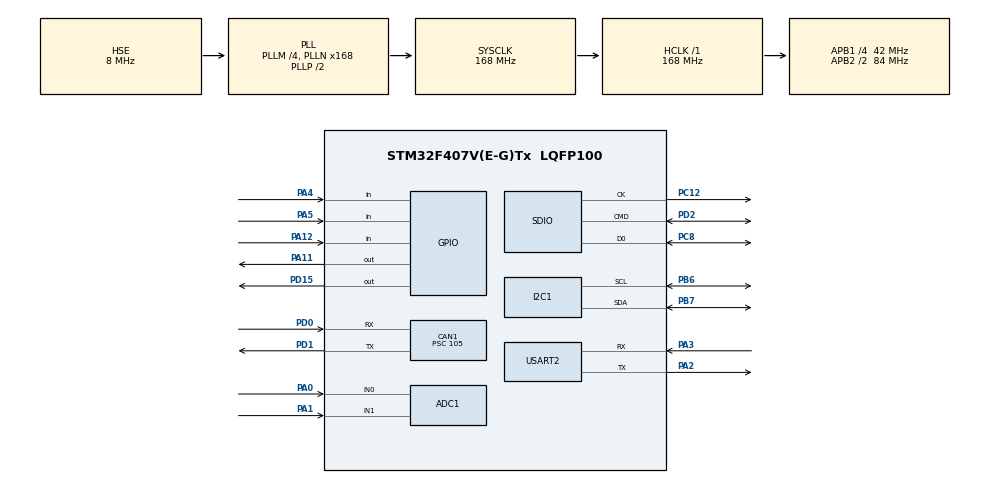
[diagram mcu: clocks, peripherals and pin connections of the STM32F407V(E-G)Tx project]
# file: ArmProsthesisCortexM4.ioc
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Mcu.Family=STM32F4
Dma.SDIO_TX.1.MemInc=DMA_MINC_ENABLE
PH0-OSC_IN.Signal=RCC_OSC_IN
RCC.CortexFreq_Value=168000000
FATFS._USE_LFN=1
NVIC.I2C1_EV_IRQn=true\:0\:0\:false\:false\:true\:true\:true
FATFS0.BSP.api=Unknown
VP_FATFS_VS_SDIO.Mode=SDIO
PC12.Signal=SDIO_CK
PD2.GPIO_Mode=GPIO_MODE_AF_PP
Dma.SDIO_TX.1.PeriphBurst=DMA_PBURST_INC4
FATFS._FS_TINY=0
RCC.SYSCLKSource=RCC_SYSCLKSOURCE_PLLCLK
ProjectManager.StackSize=0x8000
Dma.SDIO_RX.0.Direction=DMA_PERIPH_TO_MEMORY
Dma.SDIO_TX.1.PeriphInc=DMA_PINC_DISABLE
Dma.SDIO_TX.1.Instance=DMA2_Stream6
PA12.Signal=GPIO_Input
Dma.SDIO_TX.1.PeriphDataAlignment=DMA_PDATAALIGN_WORD
NVIC.CAN1_TX_IRQn=true\:0\:0\:false\:false\:true\:true\:true
RCC.HCLKFreq_Value=168000000
RCC.APB2TimFreq_Value=168000000
PB6.Signal=I2C1_SCL
PB6.Mode=I2C
PD0.Signal=CAN1_RX
Dma.SDIO_TX.1.FIFOMode=DMA_FIFOMODE_ENABLE
FATFS._LFN_UNICODE=0
RCC.AHBFreq_Value=168000000
PH0-OSC_IN.Mode=HSE-External-Oscillator
FATFS0.BSP.ip=GPIO
ADC1.Channel-0\#ChannelRegularConversion=ADC_CHANNEL_0
RCC.HSE_VALUE=8000000
PA4.GPIO_PuPd=GPIO_PULLDOWN
FATFS0.BSP.i2caddr=0
Dma.SDIO_TX.1.MemBurst=DMA_MBURST_INC4
PA14.Mode=Serial_Wire
PA5.GPIO_PuPd=GPIO_PULLDOWN
PB7.Signal=I2C1_SDA
Dma.SDIO_TX.1.Direction=DMA_MEMORY_TO_PERIPH
SH.ADCx_IN0.0=ADC1_IN0,IN0
TIM4.Period=999
Dma.SDIO_RX.0.MemDataAlignment=DMA_MDATAALIGN_WORD
ADC1.SamplingTime-0\#ChannelRegularConversion=ADC_SAMPLETIME_3CYCLES
PH1-OSC_OUT.Mode=HSE-External-Oscillator
CAN1.Prescaler=105
Mcu.Package=LQFP100
USART2.VirtualMode=VM_ASYNC
FATFS0.BSP.solution=PA12
Dma.SDIO_TX.1.FIFOThreshold=DMA_FIFO_THRESHOLD_FULL
Dma.SDIO_TX.1.Priority=DMA_PRIORITY_LOW
RCC.APB2CLKDivider=RCC_HCLK_DIV2
SH.ADCx_IN1.0=ADC1_IN1,IN1
Dma.Request1=SDIO_TX
RCC.APB1TimFreq_Value=84000000
Dma.SDIO_RX.0.MemBurst=DMA_MBURST_INC4
PC12.GPIO_PuPd=GPIO_NOPULL
Dma.SDIO_RX.0.Instance=DMA2_Stream3
Dma.Request0=SDIO_RX
PD15.Signal=GPIO_Output
Dma.SDIO_RX.0.FIFOMode=DMA_FIFOMODE_ENABLE
PA3.Signal=USART2_RX
CAN1.CalculateTimeQuantum=2500.0
PC8.GPIO_Mode=GPIO_MODE_AF_PP
RCC.PLLSourceVirtual=RCC_PLLSOURCE_HSE
FATFS0.BSP.STBoard=false
Dma.SDIO_RX.0.Mode=DMA_PFCTRL
Dma.SDIO_RX.0.Priority=DMA_PRIORITY_LOW
TIM4.AutoReloadPreload=TIM_AUTORELOAD_PRELOAD_DISABLE
ADC1.Rank-0\#ChannelRegularConversion=1
CAN1.TXFP=ENABLE
PD2.GPIO_PuPd=GPIO_NOPULL
FATFS0.BSP.mode=Input
PC8.Signal=SDIO_D0
Dma.SDIO_RX.0.PeriphInc=DMA_PINC_DISABLE
PD1.Signal=CAN1_TX
RCC.APB1CLKDivider=RCC_HCLK_DIV4
NVIC.USART2_IRQn=true\:0\:0\:false\:false\:true\:true\:true
NVIC.SDIO_IRQn=true\:0\:0\:false\:false\:true\:true\:true
PA0-WKUP.Signal=ADCx_IN0
FATFS0.BSP.instance=PA12
FATFS._VOLUMES=4
PA13.Signal=SYS_JTMS-SWDIO
PA3.Mode=Asynchronous
Dma.SDIO_TX.1.MemDataAlignment=DMA_MDATAALIGN_WORD
Dma.SDIO_RX.0.MemInc=DMA_MINC_ENABLE
CAN1.BS2=CAN_BS2_2TQ
CAN1.BS1=CAN_BS1_13TQ
Dma.SDIO_RX.0.FIFOThreshold=DMA_FIFO_THRESHOLD_FULL
ProjectManager.TargetToolchain=EWARM V8
SDIO.ClockDiv=0
NVIC.DMA2_Stream3_IRQn=true\:0\:0\:false\:false\:true\:false\:true
NVIC.DMA2_Stream6_IRQn=true\:0\:0\:false\:false\:true\:false\:true
TIM4.Prescaler=167
RCC.LSE_VALUE=32768
PA1.Signal=ADCx_IN1
Dma.SDIO_RX.0.PeriphDataAlignment=DMA_PDATAALIGN_WORD
PD2.Mode=SD_1_bit
FATFS.BSP.number=1
PA5.Signal=GPIO_Input
PC12.Mode=SD_1_bit
board=custom
RCC.VCOOutputFreq_Value=336000000
PD1.Mode=Master
FATFS._FS_NORTC=1
FATFS.USE_DMA_CODE_SD=1
RCC.APB2Freq_Value=84000000
FATFS._FS_EXFAT=1
CAN1.Mode=CAN_MODE_NORMAL
PH1-OSC_OUT.Signal=RCC_OSC_OUT
RCC.RCC_RTC_Clock_SourceVirtual=RCC_RTCCLKSOURCE_LSE
Dma.SDIO_TX.1.Mode=DMA_PFCTRL
PA13.Mode=Serial_Wire
Mcu.Name=STM32F407V(E-G)Tx
PD0.Mode=Master
PA2.Signal=USART2_TX
FATFS._MAX_SS=4096
PC8.Mode=SD_1_bit
PC12.GPIO_Speed_High_Default=GPIO_SPEED_FREQ_VERY_HIGH
RCC.48MHZClocksFreq_Value=48000000
PC8.GPIO_Speed_High_Default=GPIO_SPEED_FREQ_VERY_HIGH
PC8.GPIO_PuPd=GPIO_NOPULL
PA4.Signal=GPIO_Input
RCC.SYSCLKFreq_VALUE=168000000
PC12.GPIO_Mode=GPIO_MODE_AF_PP
ADC1.master=1
PB7.Mode=I2C
PA11.Signal=GPIO_Output
PA14.Signal=SYS_JTCK-SWCLK
ProjectManager.HeapSize=0x8000
RCC.HSI_VALUE=16000000
VP_TIM4_VS_ClockSourceINT.Mode=Internal
RCC.PLLQ=7
NVIC.PriorityGroup=NVIC_PRIORITYGROUP_4
ADC1.NbrOfConversionFlag=1
RCC.PLLM=4
RCC.PLLN=168
Dma.SDIO_RX.0.PeriphBurst=DMA_PBURST_INC4
PA2.Mode=Asynchronous
PD2.Signal=SDIO_CMD
PD2.GPIO_Speed_High_Default=GPIO_SPEED_FREQ_VERY_HIGH
NVIC.TIM4_IRQn=true\:0\:0\:false\:false\:true\:true\:true
RCC.APB1Freq_Value=42000000
FATFS0.BSP.name=Detect_SDIO
NVIC.CAN1_RX0_IRQn=true\:0\:0\:false\:false\:true\:true\:true

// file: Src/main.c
/* USER CODE BEGIN Header */
/**
******************************************************************************
* @file           : main.c
* @brief          : Main program body
******************************************************************************
* @attention
*
* <h2><center>&copy; Copyright (c) 2019 STMicroelectronics.
* All rights reserved.</center></h2>
*
* This software component is licensed by ST under BSD 3-Clause license,
* the "License"; You may not use this file except in compliance with the
* License. You may obtain a copy of the License at:
*                        opensource.org/licenses/BSD-3-Clause
*
******************************************************************************
*/
/* USER CODE END Header */
#include "main.h"
#include "adc.h"
#include "can.h"
#include "dma.h"
#include "fatfs.h"
#include "i2c.h"
#include "sdio.h"
#include "tim.h"
#include "usart.h"
#include "gpio.h"

/* USER CODE BEGIN Includes */
#include "data_handler.h"
#include "ssd1306.h"
#include "fonts.h"
#include "stdbool.h"
#include "list.h"
#include "string.h"
#include "gesture_model.h"
#include "binary_reader.h"
/* USER CODE END Includes */

/* USER CODE BEGIN PTD */

/* Тип режима работы протеза. Протез может работать в трех режимах,
которые могут переключаться как с помощью внешних воздействий, так и автоматически. */
enum TypeWork {
  /* Миоэлектрический режим работы протеза. В данном режиме выбор исполняемого
  жеста основывается только на миоэлектрических датчиках. */
  MyoelectricMode,

  /* Режим прямого управления. В данном режиме выбор исполняемого
  жеста основывается на принимаемых командах с внешнего устройства. */
  ManualMode,

  /* Смешанный режим работы протеза. В данном режиме выбор исполняемого
  жеста основывается как на миоэлектрических датчиках,
  так и на принимаемых с внешнего устройства командах. */
  MixedMode
};

/* Информация о текущей конфигурации и работе протеза. */
typedef struct {
  //
  /* Состояние подключения Emg датчика №1. */
  bool StateEnableEmg1;

  /* Состояние подключения Emg датчика №2. */
  bool StateEnableEmg2;

  /* Состояние подключения дисплея. */
  bool StateDisplay;

  /* Состояние подключения драйвера моторов. */
  bool StateMotorDriver;

  /* Состояние подключения внешнего устройства по bluetooth. */
  bool StateBluetoothConnect;

  /* Состояние подключения SD карты. */
  bool StateSDCard;

  /* Время последней синхронизации. В Unix времени. */
  long LastTimeSync;

  /* Текущий режим работы протеза. */
  enum TypeWork OperatingMode;

  /* Текущее положение протеза. */
  MotionModel ProsthesisCurrentPosition;

  /* Текущий список жестов протеза. */
  list ListMotions;

} ConfigModel;
/* USER CODE END PTD */

/* USER CODE BEGIN PD */
#define TimeDelayInitMs 500
/* USER CODE END PD */

/* USER CODE BEGIN PV */

/* CAN PV */

/* Текущая конфигурация протеза. */
ConfigModel configuration;

/* Кол-во милисекунд, прошедших со времени старта МК. */
uint64_t TimeFromStartInMillis;

/* Кол-во милисекунд, продеших со времени последнего приема с драйвера моторов. */
uint64_t TimeLastReceiveMotorDriverInMillis;

/* CAN bus filter configuration. */
CAN_FilterTypeDef sFilterConfig;

/* CAN bus header transmit configuration. */
CAN_TxHeaderTypeDef TxHeader;

/* CAN bus header receive configuration. */
CAN_RxHeaderTypeDef RxHeader;

/* CAN transmit data. */
uint8_t TxData[8];

/* CAN receive data. */
uint8_t RxData[8];

/* CAN number buffer for receive and trasnmit. */
uint32_t TxMailbox;

/* FATFS PV */

/* File system object for SD card logical drive */
FATFS SDFatFs;

/* File object. */
FIL MyFile;

/* SD logical drive path. */
extern char SDPath[4];

/* SD file open result. */
FRESULT fr;

// Time system
uint32_t time_last_receive = 0;

// For receive
uint8_t dataRx;
StructPackageBuffer receivePackage;
StructPackageBuffer transmitPackage;

/* USER CODE END PV */

void SystemClock_Config(void);

/* USER CODE BEGIN 0 */

/* Объявление функций. */

/* Реализация функций. */

/**
* @brief Выполняет инициализацию Emg датчика №1. А именно провреяет состояние пина,
* к которому подключен штекер, определяющий подключение Emg1.
* Устанавливает configuration.StateEnableEmg1 в true, если подключен
* и выводит информацию о успешном подключении.
* @retval None.
*/
bool InitEmg1()
{
  return HAL_GPIO_ReadPin(GPIOA, GPIO_PIN_4) == GPIO_PIN_SET;
}

/**
* @brief Выполняет инициализацию Emg датчика №2. А именно провреяет состояние пина,
* к которому подключен штекер, определяющий подключение Emg2.
* Устанавливает configuration.StateEnableEmg2 в true, если подключен
* и выводит информацию о успешном подключении.
* @retval None.
*/
bool InitEmg2()
{
  return HAL_GPIO_ReadPin(GPIOA, GPIO_PIN_5) == GPIO_PIN_SET;
}

/**
* @brief Выполняет отображение сообщения ни дисплее по заданным
* координатам пикселей. Координаты представляют из себя пиксели на дисплее.
* @param message Выводимое на дисплей сообщение.
* @param posX Координата x для вывода сообщения.
* @param posY Координата y для вывода сообщения.
* @retval None.
*/
void Display_Print(char* message, int posX, int posY)
{
  if (configuration.StateDisplay)
  {
    ssd1306_Fill(Black);
    ssd1306_SetCursor(posX,posY);
    ssd1306_WriteString(message, Font_11x18, White);
    ssd1306_UpdateScreen();
  }
}

void RecognizePackage(StructPackage* recPackage)
{
  switch ( recPackage->package[0] )
  {
  case 0x01:
    {
      HAL_GPIO_TogglePin(GPIOD, GPIO_PIN_15);
      break;
    }
  case 0x02:
    {
      ssd1306_Fill(White);
      ssd1306_SetCursor(0,23);
      ssd1306_WriteString((char*)(&(recPackage->package[1])),Font_11x18,Black);
      ssd1306_UpdateScreen();
      break;
    }
  }

  free(recPackage->package);
  free(recPackage);
}

/**
* @brief Проверка подключения какого либо устройства по I2C шине.
* @param address Адрес проверяемого устройства на шине I2C.
* @retval Состояние подключения устройства. True - подключено.
*/
bool CheckI2CDevice(uint8_t address)
{
  HAL_StatusTypeDef res;
  res = HAL_I2C_IsDeviceReady(&hi2c1, address, 5, 10);
  if(res == HAL_OK)
  {
    return true;
  }
  else
  {
    return false;
  }
}

/**
* @brief Выполняет необходимую программную иницилизацию CAN и
* переменных для работы с ней.
* @retval Успешность инициализации CAN шины.
*/
bool CAN_Init()
{
  sFilterConfig.FilterBank = 0;
  sFilterConfig.FilterMode = CAN_FILTERMODE_IDMASK;
  sFilterConfig.FilterScale = CAN_FILTERSCALE_32BIT;
  sFilterConfig.FilterIdHigh = 0X0000;
  sFilterConfig.FilterIdLow = 0x0000;
  sFilterConfig.FilterMaskIdHigh = 0x0000;
  sFilterConfig.FilterMaskIdLow = 0x0000;
  sFilterConfig.FilterFIFOAssignment = CAN_RX_FIFO0;
  sFilterConfig.FilterActivation = ENABLE;
  sFilterConfig.SlaveStartFilterBank = 14;

  if (HAL_CAN_ConfigFilter(&hcan1, &sFilterConfig) != HAL_OK)
  {
    Error_Handler();
    return false;
  }

  if (HAL_CAN_Start(&hcan1) != HAL_OK)
  {
    Error_Handler();
    return false;
  }

  if (HAL_CAN_ActivateNotification (&hcan1, CAN_IT_RX_FIFO0_MSG_PENDING | CAN_IT_TX_MAILBOX_EMPTY) != HAL_OK)
  {
    Error_Handler();
    return false;
  }

  TxHeader.StdId = 0x321;
  TxHeader.ExtId = 0x01;
  TxHeader.RTR = CAN_RTR_DATA;
  TxHeader.IDE = CAN_ID_STD;
  TxHeader.TransmitGlobalTime = DISABLE;
  TxHeader.DLC = 8;
  TxData[0] = 1;
  TxData[1] = 2;
  TxData[2] = 3;
  TxData[3] = 4;
  TxData[4] = 5;
  TxData[5] = 6;
  TxData[6] = 7;
  TxData[7] = 8;

  //HAL_CAN_Receive_IT(&hcan1, 0);

  return true;
}

/**
* @brief Выполняет необходимую программную иницилизацию CAN шины и провреяет
* состояние подключения драйвера моторов, ожидая приход состояния по CAN шине
* в течении 3 секунд.
* @retval Состояние подключения драйвера моторов.
*/
bool DriverMotorInit()
{
  /* Сначала иницилизациия CAN шины для обмена с контроллером моторов. */
  if (CAN_Init())
  {
    uint64_t timeStartWait = TimeFromStartInMillis;
    while (TimeFromStartInMillis - timeStartWait < 3000)
    {
      if (TimeLastReceiveMotorDriverInMillis != 0)
      {
        return true;
      }
    }
  }

  return false;
}

/**
* @brief Выполняет иницилизацию дисплея.
* @retval Успешность иницилизации дисплея.
*/
bool Display_Init()
{
  /* Проврека состояния подключения дисплея и иницилизация.*/
  if (CheckI2CDevice(SSD1306_I2C_ADDR))
  {
    ssd1306_Init();
    return true;
  }

  return false;
}

/**
* @brief Выполняет необходимую программную иницилизацию Flash карты и
* переменных для работы с ней.
* @retval None
*/
bool Flash_Init()
{
  volatile FRESULT res;
  res =  f_mount(&SDFatFs, (TCHAR const*)SDPath, 1);

  if (res != FR_OK)
  {
    BYTE work[_MIN_SS]; /* Work area (larger is better for processing time) */
    if (res == FR_NO_FILESYSTEM)
    {
      res = f_mkfs((TCHAR const*)SDPath, FM_ANY , 0, work, sizeof(work));

      res =  f_mount(&SDFatFs, (TCHAR const*)SDPath, 1);
      if (res == FR_OK)
      {
        return true;
      }
    }

    return false;
  }
  else
  {
    return true;
  }
}
/* USER CODE END 0 */

int main(void)
{
  /* USER CODE BEGIN 1 */
  for (int i = 0; i < 50000; i++)
  {
  }
  /* USER CODE END 1 */

  /* MCU Configuration--------------------------------------------------------*/

  /* Reset of all peripherals, Initializes the Flash interface and the Systick. */
  HAL_Init();

  /* Configure the system clock */
  SystemClock_Config();

  /* Initialize all configured peripherals */
  MX_GPIO_Init();
  MX_DMA_Init();
  MX_ADC1_Init();
  MX_I2C1_Init();
  MX_CAN1_Init();
  MX_SDIO_SD_Init();
  MX_FATFS_Init();
  MX_USART2_UART_Init();
  MX_TIM4_Init();
  /* USER CODE BEGIN 2 */

  /* Запуск таймера для расчет времени со старта системы. */
  HAL_TIM_Base_Start_IT(&htim4);

  /* Иницилизация дисплея и вывод сообщения о состоянии запуска системы. */
  HAL_Delay(3000);
  if (Display_Init())
  {
    configuration.StateDisplay = true;
  }

  HAL_Delay(TimeDelayInitMs);
  Display_Print("Start", 40, 30);
  HAL_Delay(TimeDelayInitMs);

  /* Проверка подключения EMG датчиков. */
  if (InitEmg1())
  {
    configuration.StateEnableEmg1 = true;
    Display_Print("EMG1 init", 0, 30);
    HAL_Delay(TimeDelayInitMs);
  }

  if (InitEmg2())
  {
    configuration.StateEnableEmg2 = true;
    Display_Print("EMG2 init", 0, 30);
    HAL_Delay(TimeDelayInitMs);
  }

  /* Инициализация драйвера моторов. */
  if (DriverMotorInit())
  {
    configuration.StateMotorDriver = true;
    Display_Print("Motor init", 0, 30);
    HAL_Delay(TimeDelayInitMs);
  }
  else
  {
    Display_Print("Motor error", 0, 30);
    Error_Handler();
    while(1);
  }

  /* Иницилизация протоколо приемо-передачи. */
  Create_Data_Receive();
  CreatePackageBuffer(&receivePackage);
  CreatePackageBuffer(&transmitPackage);
  SetPackageBuf(&receivePackage);
  HAL_UART_Receive_IT(&huart2, &dataRx, 1);

  /* Иницилизация SD карты. */
  if (Flash_Init())
  {
    configuration.StateSDCard = true;
    Display_Print("SD init", 0, 30);
    HAL_Delay(TimeDelayInitMs);
  }
  else
  {
    Display_Print("SD error", 0, 30);
    Error_Handler();
    while(1);
  }

  Display_Print("Success", 0, 30);
  HAL_Delay(5000);

  /* USER CODE END 2 */

  /* Infinite loop */
  /* USER CODE BEGIN WHILE */
  while (1)
  {
    uint8_t str[] = "USART Transmit\r\n";
    HAL_UART_Transmit(&huart2,str,16,0xFFFF);

    //HAL_GPIO_TogglePin(GPIOD, GPIO_PIN_15);

    //    if(HAL_CAN_GetTxMailboxesFreeLevel(&hcan1))
    //    {
    //      HAL_CAN_AddTxMessage(&hcan1, &TxHeader, TxData, &TxMailbox);
    //    }

    if(PackageBufferCount(&receivePackage) > 0)
    {
      StructPackage* currentPackage = PackageBufGet(&receivePackage);
      RecognizePackage(currentPackage);
    }

    HAL_StatusTypeDef status =  HAL_CAN_AddTxMessage(&hcan1, &TxHeader, TxData, &TxMailbox);
    TxData[7] = TxData[7] + 1;
    HAL_Delay(1000);
    /* USER CODE END WHILE */

  }
}

void SystemClock_Config(void)
{
  RCC_OscInitTypeDef RCC_OscInitStruct = {0};
  RCC_ClkInitTypeDef RCC_ClkInitStruct = {0};

  /** Configure the main internal regulator output voltage
  */
  __HAL_RCC_PWR_CLK_ENABLE();
  __HAL_PWR_VOLTAGESCALING_CONFIG(PWR_REGULATOR_VOLTAGE_SCALE1);
  /** Initializes the RCC Oscillators according to the specified parameters
  * in the RCC_OscInitTypeDef structure.
  */
  RCC_OscInitStruct.OscillatorType = RCC_OSCILLATORTYPE_HSE;
  RCC_OscInitStruct.HSEState = RCC_HSE_ON;
  RCC_OscInitStruct.PLL.PLLState = RCC_PLL_ON;
  RCC_OscInitStruct.PLL.PLLSource = RCC_PLLSOURCE_HSE;
  RCC_OscInitStruct.PLL.PLLM = 4;
  RCC_OscInitStruct.PLL.PLLN = 168;
  RCC_OscInitStruct.PLL.PLLP = RCC_PLLP_DIV2;
  RCC_OscInitStruct.PLL.PLLQ = 7;
  if (HAL_RCC_OscConfig(&RCC_OscInitStruct) != HAL_OK)
  {
    Error_Handler();
  }
  /** Initializes the CPU, AHB and APB buses clocks
  */
  RCC_ClkInitStruct.ClockType = RCC_CLOCKTYPE_HCLK|RCC_CLOCKTYPE_SYSCLK
                              |RCC_CLOCKTYPE_PCLK1|RCC_CLOCKTYPE_PCLK2;
  RCC_ClkInitStruct.SYSCLKSource = RCC_SYSCLKSOURCE_PLLCLK;
  RCC_ClkInitStruct.AHBCLKDivider = RCC_SYSCLK_DIV1;
  RCC_ClkInitStruct.APB1CLKDivider = RCC_HCLK_DIV4;
  RCC_ClkInitStruct.APB2CLKDivider = RCC_HCLK_DIV2;

  if (HAL_RCC_ClockConfig(&RCC_ClkInitStruct, FLASH_LATENCY_5) != HAL_OK)
  {
    Error_Handler();
  }
}

/* USER CODE BEGIN 4 */

/**
* @brief  Обработчик принятия сообщения по CAN.
* @param  hcan CAN, вызвавший прерывание.
*/
void HAL_CAN_RxFifo0MsgPendingCallback(CAN_HandleTypeDef *hcan)
{
  HAL_CAN_GetRxMessage(&hcan1, CAN_RX_FIFO0, &RxHeader, RxData);
  TimeLastReceiveMotorDriverInMillis = TimeFromStartInMillis;
  HAL_GPIO_TogglePin(GPIOD, GPIO_PIN_15);
}

/**
* @brief  Обработчик принятия сообщения по UART.
* @param  huart UART, вызвавший прерывание.
*/
void HAL_UART_RxCpltCallback(UART_HandleTypeDef *huart)
{
  if (huart == &huart2)
  {
    uint32_t time = HAL_GetTick();
    if((time - time_last_receive) > 1000)
    {
      Clear_Data_Receive();
    }

    Append_Data_Receive(dataRx);
    time_last_receive = time;
    HAL_UART_Receive_IT(&huart2, &dataRx, 1);
  }
}

/*
* Прерывание таймеров.
* htim4 отвечает за тактирование времени со старта системы и прерывается кажду 1мс.
* @param htim таймер, вызвавший прерывание.
*/
void HAL_TIM_PeriodElapsedCallback(TIM_HandleTypeDef * htim)
{
  if (htim == &htim4)
  {
    TimeFromStartInMillis++;
  }
}

/* USER CODE END 4 */

void Error_Handler(void)
{
  /* USER CODE BEGIN Error_Handler_Debug */
  /* User can add his own implementation to report the HAL error return state */
  HAL_GPIO_WritePin(GPIOD, GPIO_PIN_15,GPIO_PIN_SET);
  /* USER CODE END Error_Handler_Debug */
}

/************************ (C) COPYRIGHT STMicroelectronics *****END OF FILE****/
